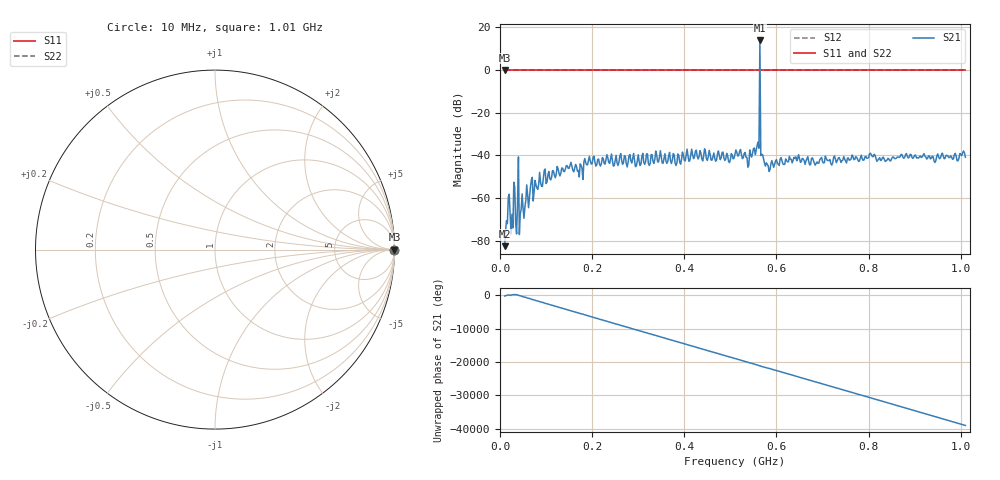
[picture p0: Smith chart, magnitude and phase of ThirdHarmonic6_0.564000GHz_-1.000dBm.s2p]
! 8/15/2025 6:02:30 PM
! C:\ANRITSUVNA\TEMP\TEMP.S2P
! CHANNEL.1
! TR.MEASUREMENT
! RAW.DATA
! RF.CORRECTION.OFF
! AVERAGING.OFF
! IF.BANDWIDTH: 5KHZ
! SWEEPTYPE:  FREQ.SWEEP(Linear)
! Reference Plane Port Info
! PORT:  PORT1  PORT2
! DISTANCE:  0  m  0  m
! TIME:  0  s  0  s
! PHASE.OFFSET:  0  deg.  0  deg.
! LOSS:  0  dB  0  dB
! REF.LOSS:  0  dB  0  dB
! REF.FREQ:  0  Hz  0  Hz
! Power Info
! POWER:  -20  dBm  -20  dBm
! EFF.POWER:  -20  dBm  -20  dBm
! SOURCE.ATTEN:  0  dB  0  dB
! TEST.ATTEN:  0  dB  0  dB
# GHZ S RI R 50.0
! FREQ.GHZ  S11RE  S11IM  S21RE  S21IM  S12RE  S12IM  S22RE  S22IM
!; PortSelection: Port_12
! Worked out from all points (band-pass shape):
!   501 points, 10 MHz to 1.01 GHz, reference 50 ohm
!   highest |S21| = 13.81 dB at 564 MHz (marker M1); lowest = -82.4 dB at 10 MHz (marker M2)
!   |S21| within 3 dB of the highest: 563.881 MHz to 564.1114 MHz (230.4 kHz wide, 0.0409 % of centre)
!   lowest |S11| = 0.0 dB at 10 MHz (marker M3)
!   |S11| at or under -10 dB: nowhere
!   |S22| runs from 0.0 to 0.0 dB; largest |S21 - S12| = 5.2
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0.01  1 0  -7.2e-05 -2.33e-05  1 0  1 0
0.018  1 0  -0.000725 0.000772  1 0  1 0
0.024  1 0  4.66e-05 0.000136  1 0  1 0
0.036  1 0  -0.000146 -7.9e-06  1 0  1 0
0.038  1 0  -0.000732 7.49e-05  1 0  1 0
0.044  1 0  -0.000207 -0.000387  1 0  1 0
0.046  1 0  -0.000551 -3e-06  1 0  1 0
0.072  1 0  -0.00082 0.000273  1 0  1 0
0.15  1 0  -0.00326 -0.0038  1 0  1 0
0.178  1 0  -0.00501 0.00018  1 0  1 0
0.344  1 0  0.00564 -0.00422  1 0  1 0
0.51  1 0  -0.00837 0.00683  1 0  1 0
0.536  1 0  -0.00828 0.00352  1 0  1 0
0.558  1 0  0.0168 -0.00325  1 0  1 0
0.56  1 0  -0.00663 -0.0193  1 0  1 0
0.564  1 0  -0.9758 4.806  1 0  1 0
0.568  1 0  7.99e-05 -0.0106  1 0  1 0
0.57  1 0  -0.0104 0.000133  1 0  1 0
0.584  1 0  0.00411 0.00101  1 0  1 0
0.678  1 0  -0.00833 -0.00293  1 0  1 0
0.844  1 0  0.00809 0.00186  1 0  1 0
1.01  1 0  -0.00856 0.00308  1 0  1 0
